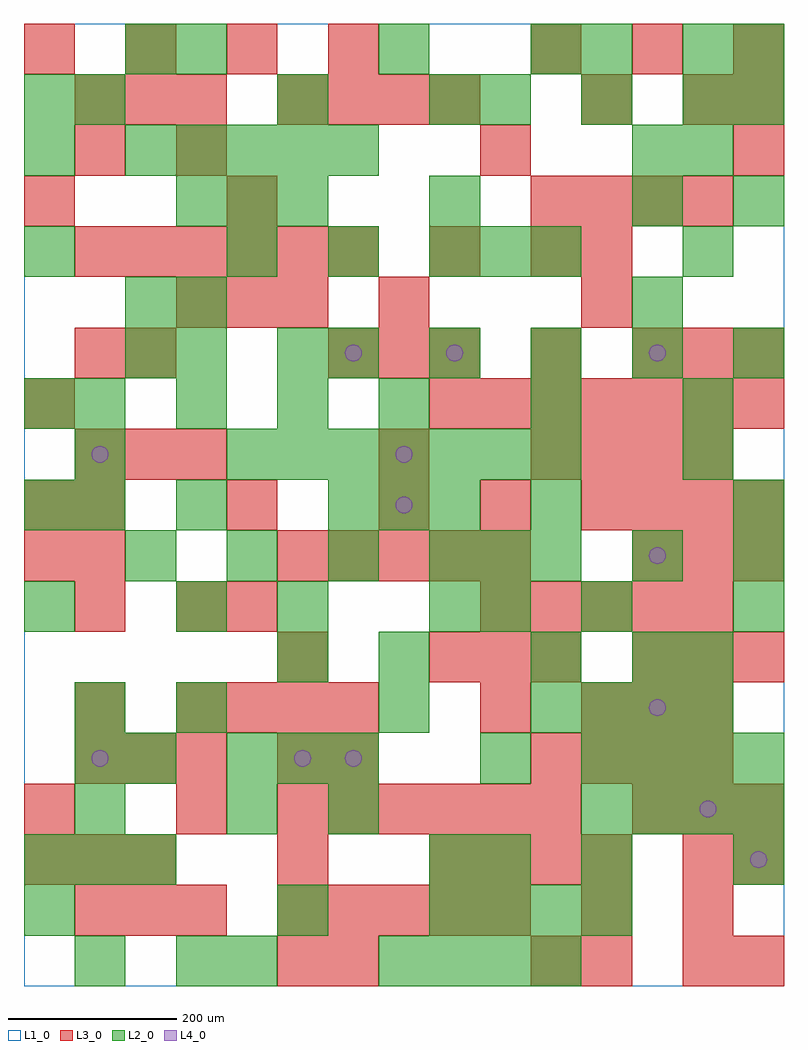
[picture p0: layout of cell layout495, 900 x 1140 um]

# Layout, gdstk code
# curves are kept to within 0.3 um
import gdstk
lib = gdstk.Library(unit=1e-6, precision=1e-09)
def R(c, l, rs):  # rectangles x0, y0, x1, y1
    for r in rs: c.add(gdstk.rectangle(r[:2], r[2:], *l))
def A(c, l, x, y, w, h, nx, ny, dx, dy):  # array of equal rectangles
    R(c, l, [(x+i*dx, y+j*dy, x+i*dx+w, y+j*dy+h) for i in range(nx) for j in range(ny)])
def P(c, l, *ps):  # polygons
    for p in ps: c.add(gdstk.Polygon(p, *l))
L1_0 = (1, 0)
L2_0 = (2, 0)
L3_0 = (3, 0)
L4_0 = (4, 0)

layout495 = lib.new_cell('layout495')
R(layout495, L1_0, [(0,0,900,1140)])
A(layout495, L2_0, 420, 0, 60, 60, 4, 1, 60, 0)
A(layout495, L2_0, 480, 60, 60, 60, 4, 1, 60, 0)
A(layout495, L2_0, 0, 120, 60, 60, 3, 1, 60, 0)
A(layout495, L2_0, 60, 180, 60, 60, 1, 3, 0, 60)
A(layout495, L2_0, 660, 180, 60, 60, 4, 2, 60, 60)
A(layout495, L2_0, 240, 240, 60, 60, 3, 1, 60, 0)
A(layout495, L2_0, 180, 300, 60, 60, 1, 3, 0, 120)
A(layout495, L2_0, 600, 300, 60, 60, 4, 1, 60, 0)
A(layout495, L2_0, 0, 420, 60, 60, 1, 3, 0, 120)
A(layout495, L2_0, 300, 420, 60, 60, 1, 3, 0, 300)
A(layout495, L2_0, 120, 480, 60, 60, 4, 1, 120, 0)
A(layout495, L2_0, 600, 480, 60, 60, 3, 1, 120, 0)
A(layout495, L2_0, 360, 540, 60, 60, 3, 1, 60, 0)
A(layout495, L2_0, 240, 600, 60, 60, 7, 1, 60, 0)
A(layout495, L2_0, 60, 660, 60, 60, 4, 1, 120, 0)
A(layout495, L2_0, 360, 720, 60, 60, 5, 1, 120, 0)
A(layout495, L2_0, 240, 840, 60, 60, 3, 1, 120, 0)
A(layout495, L2_0, 780, 840, 60, 60, 1, 3, 0, 120)
A(layout495, L2_0, 180, 900, 60, 60, 3, 1, 60, 0)
A(layout495, L2_0, 120, 960, 60, 60, 5, 1, 60, 0)
A(layout495, L2_0, 540, 1020, 60, 60, 3, 1, 120, 0)
R(layout495, L2_0, [(60,0,120,60), (180,0,240,60), (240,0,300,60), (0,60,60,120), (300,60,360,120), (480,120,540,180), (540,120,600,180), (660,120,720,180), (840,120,900,180), (240,180,300,240), (360,180,420,240), (120,240,180,300), (540,240,600,300), (420,300,480,360), (300,360,360,420), (420,360,480,420), (600,360,660,420), (720,360,780,420), (780,360,840,420), (480,420,540,480), (540,420,600,480), (660,420,720,480), (840,420,900,480), (540,480,600,540), (60,540,120,600), (600,540,660,600), (840,540,900,600), (60,600,120,660), (780,600,840,660), (600,660,660,720), (780,660,840,720), (120,720,180,780), (180,720,240,780), (120,780,180,840), (180,780,240,840), (720,780,780,840), (0,840,60,900), (540,840,600,900), (600,840,660,900), (480,900,540,960), (720,900,780,960), (840,900,900,960), (0,960,60,1020), (720,960,780,1020), (0,1020,60,1080), (60,1020,120,1080), (480,1020,540,1080), (840,1020,900,1080), (120,1080,180,1140), (180,1080,240,1140), (420,1080,480,1140), (600,1080,660,1140), (660,1080,720,1140), (840,1080,900,1140)])
A(layout495, L3_0, 300, 0, 60, 60, 1, 4, 0, 120)
A(layout495, L3_0, 780, 0, 60, 60, 1, 3, 0, 60)
A(layout495, L3_0, 60, 60, 60, 60, 3, 2, 60, 180)
A(layout495, L3_0, 300, 60, 60, 60, 5, 2, 60, 420)
A(layout495, L3_0, 0, 120, 60, 60, 3, 1, 60, 0)
A(layout495, L3_0, 480, 120, 60, 60, 4, 1, 60, 0)
A(layout495, L3_0, 300, 180, 60, 60, 6, 1, 60, 0)
A(layout495, L3_0, 720, 180, 60, 60, 3, 2, 60, 180)
A(layout495, L3_0, 600, 240, 60, 60, 4, 2, 60, 360)
A(layout495, L3_0, 180, 300, 60, 60, 4, 1, 60, 0)
A(layout495, L3_0, 660, 300, 60, 60, 3, 1, 60, 0)
A(layout495, L3_0, 480, 360, 60, 60, 3, 1, 60, 0)
A(layout495, L3_0, 540, 420, 60, 60, 5, 1, 60, 0)
A(layout495, L3_0, 60, 480, 60, 60, 1, 3, 0, 240)
A(layout495, L3_0, 720, 480, 60, 60, 3, 2, 60, 240)
A(layout495, L3_0, 60, 540, 60, 60, 3, 1, 180, 0)
A(layout495, L3_0, 660, 540, 60, 60, 4, 1, 60, 0)
A(layout495, L3_0, 60, 600, 60, 60, 3, 2, 60, 420)
A(layout495, L3_0, 480, 660, 60, 60, 7, 1, 60, 0)
A(layout495, L3_0, 360, 720, 60, 60, 3, 1, 60, 0)
A(layout495, L3_0, 180, 780, 60, 60, 3, 1, 60, 0)
A(layout495, L3_0, 60, 840, 60, 60, 6, 1, 60, 0)
A(layout495, L3_0, 600, 900, 60, 60, 4, 1, 60, 0)
A(layout495, L3_0, 300, 1020, 60, 60, 4, 1, 60, 0)
A(layout495, L3_0, 0, 1080, 60, 60, 4, 1, 120, 0)
A(layout495, L3_0, 600, 1080, 60, 60, 3, 1, 120, 0)
R(layout495, L3_0, [(360,0,420,60), (600,0,660,60), (660,0,720,60), (840,0,900,60), (660,60,720,120), (840,120,900,180), (0,180,60,240), (180,180,240,240), (360,240,420,300), (60,300,120,360), (540,300,600,360), (60,420,120,480), (180,420,240,480), (240,420,300,480), (0,480,60,540), (0,540,60,600), (540,540,600,600), (420,600,480,660), (0,660,60,720), (120,720,180,780), (600,720,660,780), (420,780,480,840), (660,780,720,840), (480,840,540,900), (600,840,660,900), (660,840,720,900), (0,900,60,960), (240,900,300,960), (180,960,240,1020), (540,960,600,1020), (840,960,900,1020), (660,1020,720,1080), (780,1020,840,1080), (840,1020,900,1080)])
P(layout495, L4_0, [(100,270),(99.239,273.827),(97.071,277.071),(93.827,279.239),(90,280),(86.173,279.239),(82.929,277.071),(80.761,273.827),(80,270),(80.761,266.173),(82.929,262.929),(86.173,260.761),(90,260),(93.827,260.761),(97.071,262.929),(99.239,266.173)],
  [(100,630),(99.239,633.827),(97.071,637.071),(93.827,639.239),(90,640),(86.173,639.239),(82.929,637.071),(80.761,633.827),(80,630),(80.761,626.173),(82.929,622.929),(86.173,620.761),(90,620),(93.827,620.761),(97.071,622.929),(99.239,626.173)],
  [(340,270),(339.239,273.827),(337.071,277.071),(333.827,279.239),(330,280),(326.173,279.239),(322.929,277.071),(320.761,273.827),(320,270),(320.761,266.173),(322.929,262.929),(326.173,260.761),(330,260),(333.827,260.761),(337.071,262.929),(339.239,266.173)],
  [(400,270),(399.239,273.827),(397.071,277.071),(393.827,279.239),(390,280),(386.173,279.239),(382.929,277.071),(380.761,273.827),(380,270),(380.761,266.173),(382.929,262.929),(386.173,260.761),(390,260),(393.827,260.761),(397.071,262.929),(399.239,266.173)],
  [(400,750),(399.239,753.827),(397.071,757.071),(393.827,759.239),(390,760),(386.173,759.239),(382.929,757.071),(380.761,753.827),(380,750),(380.761,746.173),(382.929,742.929),(386.173,740.761),(390,740),(393.827,740.761),(397.071,742.929),(399.239,746.173)],
  [(460,570),(459.239,573.827),(457.071,577.071),(453.827,579.239),(450,580),(446.173,579.239),(442.929,577.071),(440.761,573.827),(440,570),(440.761,566.173),(442.929,562.929),(446.173,560.761),(450,560),(453.827,560.761),(457.071,562.929),(459.239,566.173)],
  [(460,630),(459.239,633.827),(457.071,637.071),(453.827,639.239),(450,640),(446.173,639.239),(442.929,637.071),(440.761,633.827),(440,630),(440.761,626.173),(442.929,622.929),(446.173,620.761),(450,620),(453.827,620.761),(457.071,622.929),(459.239,626.173)],
  [(520,750),(519.239,753.827),(517.071,757.071),(513.827,759.239),(510,760),(506.173,759.239),(502.929,757.071),(500.761,753.827),(500,750),(500.761,746.173),(502.929,742.929),(506.173,740.761),(510,740),(513.827,740.761),(517.071,742.929),(519.239,746.173)],
  [(760,330),(759.239,333.827),(757.071,337.071),(753.827,339.239),(750,340),(746.173,339.239),(742.929,337.071),(740.761,333.827),(740,330),(740.761,326.173),(742.929,322.929),(746.173,320.761),(750,320),(753.827,320.761),(757.071,322.929),(759.239,326.173)],
  [(760,510),(759.239,513.827),(757.071,517.071),(753.827,519.239),(750,520),(746.173,519.239),(742.929,517.071),(740.761,513.827),(740,510),(740.761,506.173),(742.929,502.929),(746.173,500.761),(750,500),(753.827,500.761),(757.071,502.929),(759.239,506.173)],
  [(760,750),(759.239,753.827),(757.071,757.071),(753.827,759.239),(750,760),(746.173,759.239),(742.929,757.071),(740.761,753.827),(740,750),(740.761,746.173),(742.929,742.929),(746.173,740.761),(750,740),(753.827,740.761),(757.071,742.929),(759.239,746.173)],
  [(820,210),(819.239,213.827),(817.071,217.071),(813.827,219.239),(810,220),(806.173,219.239),(802.929,217.071),(800.761,213.827),(800,210),(800.761,206.173),(802.929,202.929),(806.173,200.761),(810,200),(813.827,200.761),(817.071,202.929),(819.239,206.173)],
  [(880,150),(879.239,153.827),(877.071,157.071),(873.827,159.239),(870,160),(866.173,159.239),(862.929,157.071),(860.761,153.827),(860,150),(860.761,146.173),(862.929,142.929),(866.173,140.761),(870,140),(873.827,140.761),(877.071,142.929),(879.239,146.173)])

lib.write_gds('layout495.gds')
